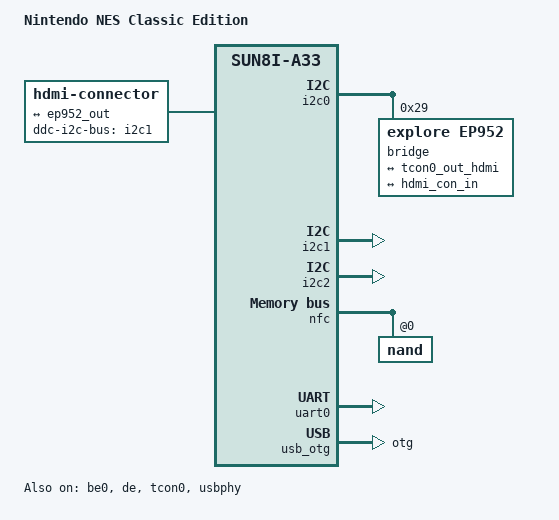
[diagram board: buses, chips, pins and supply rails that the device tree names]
// SPDX-License-Identifier: GPL-2.0 OR X11
/* Copyright (c) 2016 FUKAUMI Naoki <naobsd@gmail.com> */

/dts-v1/;
#include "sun8i-a33.dtsi"
#include "sunxi-common-regulators.dtsi"

/ {
	model = "Nintendo NES Classic Edition";
	compatible = "nintendo,nes-classic", "allwinner,sun8i-r16",
		     "allwinner,sun8i-a33";

	aliases {
		serial0 = &uart0;
	};

	chosen {
		stdout-path = "serial0:115200n8";
	};

	connector {
		compatible = "hdmi-connector";
		ddc-i2c-bus = <&i2c1>;
		type = "a";

		port {
			hdmi_con_in: endpoint {
				remote-endpoint = <&ep952_out>;
			};
		};
	};
};

&be0 {
	status = "okay";
};

&de {
	status = "okay";
};

&i2c0 {
	pinctrl-names = "default";
	pinctrl-0 = <&i2c0_pins_a>;
	status = "okay";

	bridge@29 {
		compatible = "explore,ep952";
		reg = <0x29>;
		#address-cells = <1>;
		#size-cells = <0>;

		ports {
			#address-cells = <1>;
			#size-cells = <0>;

			port@0 {
				reg = <0>;

				ep952_in: endpoint {
					remote-endpoint = <&tcon0_out_hdmi>;
				};
			};

			port@1 {
				reg = <1>;

				ep952_out: endpoint {
					remote-endpoint = <&hdmi_con_in>;
				};
			};
		};
	};
};

&i2c1 {
	pinctrl-names = "default";
	pinctrl-0 = <&i2c1_pins_a>;
	status = "okay";
};

&i2c2 {
	pinctrl-names = "default";
	pinctrl-0 = <&i2c2_pins_a>;
	status = "okay";
};

&nfc {
	status = "okay";

	/* 2Gb Macronix MX30LF2G18AC (3V) */
	nand@0 {
		#address-cells = <1>;
		#size-cells = <1>;
		reg = <0>;
		allwinner,rb = <0>;
		nand-ecc-mode = "hw";
		nand-ecc-strength = <16>;
		nand-ecc-step-size = <1024>;
	};
};

&tcon0 {
	pinctrl-names = "default";
	pinctrl-0 = <&lcd_rgb888_pins>;
	status = "okay";
};

&tcon0_out {
	tcon0_out_hdmi: endpoint@0 {
		reg = <0>;
		remote-endpoint = <&ep952_in>;
	};
};

&uart0 {
	/*
	 * UART0 is available on two ports: PB and PF, both are accessible.
	 * PF can also be used for the SD card so PB is preferred.
	 */
	pinctrl-names = "default";
	pinctrl-0 = <&uart0_pins_a>;
	status = "okay";
};

&usb_otg {
	status = "okay";
	dr_mode = "otg";
};

&usbphy {
	/* VBUS is always on because it is wired to the power supply */
	usb1_vbus-supply = <&reg_vcc5v0>;
	status = "okay";
};
